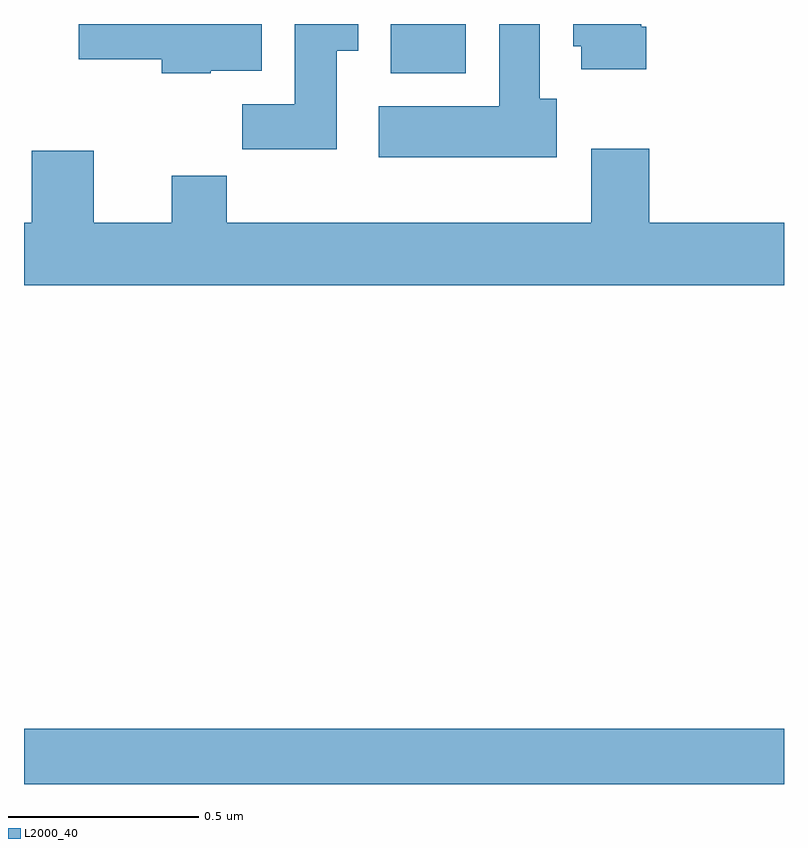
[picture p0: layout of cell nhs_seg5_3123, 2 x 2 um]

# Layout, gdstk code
import gdstk
lib = gdstk.Library(unit=1e-6, precision=1e-09)
def R(c, l, rs):  # rectangles x0, y0, x1, y1
    for r in rs: c.add(gdstk.rectangle(r[:2], r[2:], *l))
def P(c, l, *ps):  # polygons
    for p in ps: c.add(gdstk.Polygon(p, *l))
L2000_40 = (2000, 40)

nhs_seg5_3123 = lib.new_cell('nhs_seg5_3123')
R(nhs_seg5_3123, L2000_40, [(153,836.799,155,836.944), (153.965,838.67,154.162,838.799)])
P(nhs_seg5_3123, L2000_40, [(154.402,838.602),(154.357,838.602),(154.357,838.799),(154.25,838.799),(154.25,838.582),(153.933,838.582),(153.933,838.448),(154.402,838.448)],
  [(153.823,838.729),(153.88,838.729),(153.88,838.799),(153.713,838.799),(153.713,838.588),(153.574,838.588),(153.574,838.47),(153.823,838.47)],
  [(153.492,838.676),(153.625,838.676),(153.625,838.799),(153.144,838.799),(153.144,838.706),(153.362,838.706),(153.362,838.67),(153.492,838.67)],
  [(154.637,838.792),(154.624,838.792),(154.624,838.799),(154.445,838.799),(154.445,838.74),(154.466,838.74),(154.466,838.68),(154.637,838.68)],
  [(155,838.276),(154.646,838.276),(154.646,838.471),(154.493,838.471),(154.493,838.276),(153.533,838.276),(153.533,838.4),(153.389,838.4),(153.389,838.276),(153.184,838.276),(153.184,838.465),(153.02,838.465),(153.02,838.276),(153,838.276),(153,838.112),(155,838.112)])

lib.write_gds('nhs_seg5_3123.gds')
